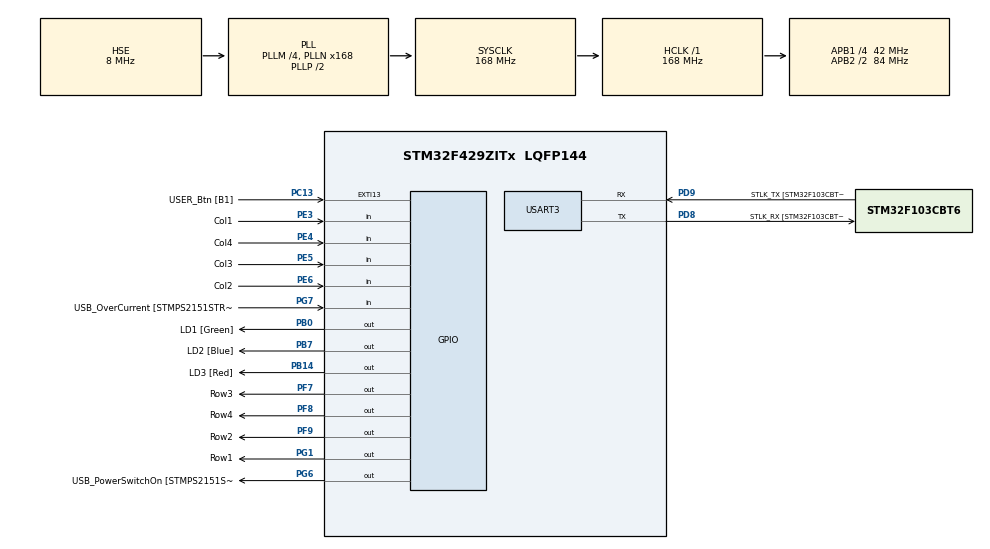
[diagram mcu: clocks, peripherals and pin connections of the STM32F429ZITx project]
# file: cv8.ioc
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Mcu.Family=STM32F4
Mcu.Name=STM32F429ZITx
Mcu.Package=LQFP144
NVIC.PriorityGroup=NVIC_PRIORITYGROUP_4
NVIC.TIM3_IRQn=true\:0\:0\:false\:false\:true\:true\:true
PA1.GPIO_Label=RMII_REF_CLK [LAN8742A-CZ-TR_REFCLK0]
PA1.Signal=ETH_REF_CLK
PA10.GPIO_Label=USB_ID
PA10.Signal=USB_OTG_FS_ID
PA11.GPIO_Label=USB_DM
PA11.Signal=USB_OTG_FS_DM
PA12.GPIO_Label=USB_DP
PA12.Signal=USB_OTG_FS_DP
PA13.GPIO_Label=TMS
PA13.Mode=Serial_Wire
PA13.Signal=SYS_JTMS-SWDIO
PA14.GPIO_Label=TCK
PA14.Mode=Serial_Wire
PA14.Signal=SYS_JTCK-SWCLK
PA2.GPIO_Label=RMII_MDIO [LAN8742A-CZ-TR_MDIO]
PA2.Signal=ETH_MDIO
PA7.GPIO_Label=RMII_CRS_DV [LAN8742A-CZ-TR_CRS_DV]
PA7.Signal=ETH_CRS_DV
PA8.GPIO_Label=USB_SOF [TP1]
PA8.Signal=USB_OTG_FS_SOF
PA9.GPIO_Label=USB_VBUS
PA9.Signal=USB_OTG_FS_VBUS
PB0.GPIO_Label=LD1 [Green]
PB0.Signal=GPIO_Output
PB13.GPIO_Label=RMII_TXD1 [LAN8742A-CZ-TR_TXD1]
PB13.Signal=ETH_TXD1
PB14.GPIO_Label=LD3 [Red]
PB14.Signal=GPIO_Output
PB7.GPIO_Label=LD2 [Blue]
PB7.Signal=GPIO_Output
PC1.GPIO_Label=RMII_MDC [LAN8742A-CZ-TR_MDC]
PC1.Signal=ETH_MDC
PC13.GPIO_Label=USER_Btn [B1]
PC13.Signal=GPXTI13
PC14/OSC32_IN.Mode=LSE-External-Oscillator
PC14/OSC32_IN.Signal=RCC_OSC32_IN
PC15/OSC32_OUT.Mode=LSE-External-Oscillator
PC15/OSC32_OUT.Signal=RCC_OSC32_OUT
PC4.GPIO_Label=RMII_RXD0 [LAN8742A-CZ-TR_RXD0]
PC4.Signal=ETH_RXD0
PC5.GPIO_Label=RMII_RXD1 [LAN8742A-CZ-TR_RXD1]
PC5.Signal=ETH_RXD1
PD8.GPIO_Label=STLK_RX [STM32F103CBT6_PA3]
PD8.Mode=Asynchronous
PD8.Signal=USART3_TX
PD9.GPIO_Label=STLK_TX [STM32F103CBT6_PA2]
PD9.Mode=Asynchronous
PD9.Signal=USART3_RX
PE3.GPIO_Label=Col1
PE3.GPIO_PuPd=GPIO_PULLUP
PE3.Signal=GPIO_Input
PE4.GPIO_Label=Col4
PE4.GPIO_PuPd=GPIO_PULLUP
PE4.Signal=GPIO_Input
PE5.GPIO_Label=Col3
PE5.GPIO_PuPd=GPIO_PULLUP
PE5.Signal=GPIO_Input
PE6.GPIO_Label=Col2
PE6.GPIO_PuPd=GPIO_PULLUP
PE6.Signal=GPIO_Input
PF7.GPIO_Label=Row3
PF7.GPIO_ModeDefaultOutputPP=GPIO_MODE_OUTPUT_OD
PF7.Signal=GPIO_Output
PF8.GPIO_Label=Row4
PF8.GPIO_ModeDefaultOutputPP=GPIO_MODE_OUTPUT_OD
PF8.Signal=GPIO_Output
PF9.GPIO_Label=Row2
PF9.GPIO_ModeDefaultOutputPP=GPIO_MODE_OUTPUT_OD
PF9.Signal=GPIO_Output
PG1.GPIO_Label=Row1
PG1.GPIO_ModeDefaultOutputPP=GPIO_MODE_OUTPUT_OD
PG1.Signal=GPIO_Output
PG11.GPIO_Label=RMII_TX_EN [LAN8742A-CZ-TR_TXEN]
PG11.Signal=ETH_TX_EN
PG13.GPIO_Label=RMII_TXD0 [LAN8742A-CZ-TR_TXD0]
PG13.Signal=ETH_TXD0
PG6.GPIO_Label=USB_PowerSwitchOn [STMPS2151STR_EN]
PG6.Signal=GPIO_Output
PG7.GPIO_Label=USB_OverCurrent [STMPS2151STR_FAULT]
PG7.Signal=GPIO_Input
PH0/OSC_IN.GPIO_Label=MCO [STM32F103CBT6_PA8]
PH0/OSC_IN.Mode=HSE-External-Clock-Source
PH0/OSC_IN.Signal=RCC_OSC_IN
PH1/OSC_OUT.Mode=HSE-External-Clock-Source
PH1/OSC_OUT.Signal=RCC_OSC_OUT
ProjectManager.HeapSize=0x200
ProjectManager.StackSize=0x400
ProjectManager.TargetToolchain=STM32CubeIDE
RCC.48MHZClocksFreq_Value=48000000
RCC.AHBFreq_Value=168000000
RCC.APB1CLKDivider=RCC_HCLK_DIV4
RCC.APB1Freq_Value=42000000
RCC.APB1TimFreq_Value=84000000
RCC.APB2CLKDivider=RCC_HCLK_DIV2
RCC.APB2Freq_Value=84000000
RCC.APB2TimCLKDivider=2
RCC.APB2TimFreq_Value=168000000
RCC.CortexFreq_Value=168000000
RCC.HCLKFreq_Value=168000000
RCC.HSE_VALUE=8000000
RCC.HSI_VALUE=16000000
RCC.PLLM=4
RCC.PLLMUL=RCC_PLL_MUL9
RCC.PLLN=168
RCC.PLLQ=7
RCC.PLLSourceVirtual=RCC_PLLSOURCE_HSE
RCC.PRESCALERUSB=RCC_USBCLKSOURCE_PLL_DIV1_5
RCC.SYSCLKFreq_VALUE=168000000
RCC.SYSCLKSource=RCC_SYSCLKSOURCE_PLLCLK
RCC.SYSCLKSourceVirtual=RCC_SYSCLKSOURCE_PLLCLK
RCC.USBFreq_Value=48000000
RCC.VCOOutputFreq_Value=336000000
TIM3.AutoReloadPreload=TIM_AUTORELOAD_PRELOAD_ENABLE
TIM3.Period=99
TIM3.Prescaler=8399
USART3.VirtualMode=VM_ASYNC
VP_TIM3_VS_ClockSourceINT.Mode=Internal
board=NUCLEO-F429ZI

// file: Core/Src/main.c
/* USER CODE BEGIN Header */
/**
  ******************************************************************************
  * @file           : main.c
  * @brief          : Main program body
  ******************************************************************************
  * @attention
  *
  * <h2><center>&copy; Copyright (c) 2021 STMicroelectronics.
  * All rights reserved.</center></h2>
  *
  * This software component is licensed by ST under BSD 3-Clause license,
  * the "License"; You may not use this file except in compliance with the
  * License. You may obtain a copy of the License at:
  *                        opensource.org/licenses/BSD-3-Clause
  *
  ******************************************************************************
  */
/* USER CODE END Header */
#include "main.h"

/* USER CODE BEGIN Includes */
#include <stdio.h>

/* USER CODE END Includes */

/* USER CODE BEGIN PD */

int __io_putchar(int ch)
{
 ITM_SendChar(ch);
return 0;
}

/* USER CODE END PD */

TIM_HandleTypeDef htim3;

UART_HandleTypeDef huart3;

/* USER CODE BEGIN PV */
volatile int8_t key;
/* USER CODE END PV */

void SystemClock_Config(void);
static void MX_GPIO_Init(void);
static void MX_USART3_UART_Init(void);
static void MX_TIM3_Init(void);

int main(void)
{

  /* MCU Configuration--------------------------------------------------------*/

  /* Reset of all peripherals, Initializes the Flash interface and the Systick. */
  HAL_Init();

  /* Configure the system clock */
  SystemClock_Config();

  /* Initialize all configured peripherals */
  MX_GPIO_Init();
  MX_USART3_UART_Init();
  MX_TIM3_Init();
  /* USER CODE BEGIN 2 */

  // povoleni preruseni casove zakladny

  HAL_TIM_Base_Start_IT(&htim3);

  /* USER CODE END 2 */

  /* Infinite loop */
  /* USER CODE BEGIN WHILE */

  static const int zamek[5] = {7,9,3,2,12};
  uint8_t index_zamek = 0; //umisteno zde aby nemusela byt static
  uint32_t last; // umisteno zde aby nemusela byt static
  while (1)
  {

	  if(key != -1)
	  {
		  if(HAL_GetTick()-last > 5000)
		  {
			  index_zamek = 0;
			  printf("cas vyprsel \n");
		  }

		  last=HAL_GetTick();
		  printf("stisknuto: %d \n", key);
		  HAL_Delay(500);

		  // porovnavani klavesy a zamku
		  if(key == zamek[index_zamek])
		  {
			  index_zamek++;

		  }
		  else
		  {
			  index_zamek = 0;
		  }

		  // pokud je index zakmu 5 (shodny s rozsahem pole zamek)
		  if(index_zamek == (sizeof(zamek)/sizeof(zamek[0])))
		  {
			  printf("odemceno!! \n");
			  HAL_GPIO_WritePin (LD1_GPIO_Port, LD1_Pin,GPIO_PIN_SET);
			  HAL_Delay(1000);
			  HAL_GPIO_WritePin (LD1_GPIO_Port, LD1_Pin,GPIO_PIN_RESET);
		  }

		  key= -1;
	  }

	 // testovani kominikace s deskou
	 /*
	 HAL_GPIO_TogglePin(LD1_GPIO_Port, LD1_Pin);
	 HAL_Delay(250);
	 printf("sviti \n");
	 */

    /* USER CODE END WHILE */

  }
}

void SystemClock_Config(void)
{
  RCC_OscInitTypeDef RCC_OscInitStruct = {0};
  RCC_ClkInitTypeDef RCC_ClkInitStruct = {0};

  /** Configure the main internal regulator output voltage
  */
  __HAL_RCC_PWR_CLK_ENABLE();
  __HAL_PWR_VOLTAGESCALING_CONFIG(PWR_REGULATOR_VOLTAGE_SCALE1);
  /** Initializes the RCC Oscillators according to the specified parameters
  * in the RCC_OscInitTypeDef structure.
  */
  RCC_OscInitStruct.OscillatorType = RCC_OSCILLATORTYPE_HSE;
  RCC_OscInitStruct.HSEState = RCC_HSE_BYPASS;
  RCC_OscInitStruct.PLL.PLLState = RCC_PLL_ON;
  RCC_OscInitStruct.PLL.PLLSource = RCC_PLLSOURCE_HSE;
  RCC_OscInitStruct.PLL.PLLM = 4;
  RCC_OscInitStruct.PLL.PLLN = 168;
  RCC_OscInitStruct.PLL.PLLP = RCC_PLLP_DIV2;
  RCC_OscInitStruct.PLL.PLLQ = 7;
  if (HAL_RCC_OscConfig(&RCC_OscInitStruct) != HAL_OK)
  {
    Error_Handler();
  }
  /** Initializes the CPU, AHB and APB buses clocks
  */
  RCC_ClkInitStruct.ClockType = RCC_CLOCKTYPE_HCLK|RCC_CLOCKTYPE_SYSCLK
                              |RCC_CLOCKTYPE_PCLK1|RCC_CLOCKTYPE_PCLK2;
  RCC_ClkInitStruct.SYSCLKSource = RCC_SYSCLKSOURCE_PLLCLK;
  RCC_ClkInitStruct.AHBCLKDivider = RCC_SYSCLK_DIV1;
  RCC_ClkInitStruct.APB1CLKDivider = RCC_HCLK_DIV4;
  RCC_ClkInitStruct.APB2CLKDivider = RCC_HCLK_DIV2;

  if (HAL_RCC_ClockConfig(&RCC_ClkInitStruct, FLASH_LATENCY_5) != HAL_OK)
  {
    Error_Handler();
  }
}

static void MX_TIM3_Init(void)
{

  TIM_ClockConfigTypeDef sClockSourceConfig = {0};
  TIM_MasterConfigTypeDef sMasterConfig = {0};

  htim3.Instance = TIM3;
  htim3.Init.Prescaler = 8399;
  htim3.Init.CounterMode = TIM_COUNTERMODE_UP;
  htim3.Init.Period = 99;
  htim3.Init.ClockDivision = TIM_CLOCKDIVISION_DIV1;
  htim3.Init.AutoReloadPreload = TIM_AUTORELOAD_PRELOAD_ENABLE;
  if (HAL_TIM_Base_Init(&htim3) != HAL_OK)
  {
    Error_Handler();
  }
  sClockSourceConfig.ClockSource = TIM_CLOCKSOURCE_INTERNAL;
  if (HAL_TIM_ConfigClockSource(&htim3, &sClockSourceConfig) != HAL_OK)
  {
    Error_Handler();
  }
  sMasterConfig.MasterOutputTrigger = TIM_TRGO_RESET;
  sMasterConfig.MasterSlaveMode = TIM_MASTERSLAVEMODE_DISABLE;
  if (HAL_TIMEx_MasterConfigSynchronization(&htim3, &sMasterConfig) != HAL_OK)
  {
    Error_Handler();
  }

}

static void MX_USART3_UART_Init(void)
{

  huart3.Instance = USART3;
  huart3.Init.BaudRate = 115200;
  huart3.Init.WordLength = UART_WORDLENGTH_8B;
  huart3.Init.StopBits = UART_STOPBITS_1;
  huart3.Init.Parity = UART_PARITY_NONE;
  huart3.Init.Mode = UART_MODE_TX_RX;
  huart3.Init.HwFlowCtl = UART_HWCONTROL_NONE;
  huart3.Init.OverSampling = UART_OVERSAMPLING_16;
  if (HAL_UART_Init(&huart3) != HAL_OK)
  {
    Error_Handler();
  }

}

static void MX_GPIO_Init(void)
{
  GPIO_InitTypeDef GPIO_InitStruct = {0};

  /* GPIO Ports Clock Enable */
  __HAL_RCC_GPIOE_CLK_ENABLE();
  __HAL_RCC_GPIOC_CLK_ENABLE();
  __HAL_RCC_GPIOF_CLK_ENABLE();
  __HAL_RCC_GPIOH_CLK_ENABLE();
  __HAL_RCC_GPIOA_CLK_ENABLE();
  __HAL_RCC_GPIOB_CLK_ENABLE();
  __HAL_RCC_GPIOG_CLK_ENABLE();
  __HAL_RCC_GPIOD_CLK_ENABLE();

  /*Configure GPIO pin Output Level */
  HAL_GPIO_WritePin(GPIOF, Row3_Pin|Row4_Pin|Row2_Pin, GPIO_PIN_RESET);

  /*Configure GPIO pin Output Level */
  HAL_GPIO_WritePin(GPIOB, LD1_Pin|LD3_Pin|LD2_Pin, GPIO_PIN_RESET);

  /*Configure GPIO pin Output Level */
  HAL_GPIO_WritePin(GPIOG, Row1_Pin|USB_PowerSwitchOn_Pin, GPIO_PIN_RESET);

  /*Configure GPIO pins : Col1_Pin Col4_Pin Col3_Pin Col2_Pin */
  GPIO_InitStruct.Pin = Col1_Pin|Col4_Pin|Col3_Pin|Col2_Pin;
  GPIO_InitStruct.Mode = GPIO_MODE_INPUT;
  GPIO_InitStruct.Pull = GPIO_PULLUP;
  HAL_GPIO_Init(GPIOE, &GPIO_InitStruct);

  /*Configure GPIO pin : USER_Btn_Pin */
  GPIO_InitStruct.Pin = USER_Btn_Pin;
  GPIO_InitStruct.Mode = GPIO_MODE_IT_RISING;
  GPIO_InitStruct.Pull = GPIO_NOPULL;
  HAL_GPIO_Init(USER_Btn_GPIO_Port, &GPIO_InitStruct);

  /*Configure GPIO pins : Row3_Pin Row4_Pin Row2_Pin */
  GPIO_InitStruct.Pin = Row3_Pin|Row4_Pin|Row2_Pin;
  GPIO_InitStruct.Mode = GPIO_MODE_OUTPUT_OD;
  GPIO_InitStruct.Pull = GPIO_NOPULL;
  GPIO_InitStruct.Speed = GPIO_SPEED_FREQ_LOW;
  HAL_GPIO_Init(GPIOF, &GPIO_InitStruct);

  /*Configure GPIO pins : RMII_MDC_Pin RMII_RXD0_Pin RMII_RXD1_Pin */
  GPIO_InitStruct.Pin = RMII_MDC_Pin|RMII_RXD0_Pin|RMII_RXD1_Pin;
  GPIO_InitStruct.Mode = GPIO_MODE_AF_PP;
  GPIO_InitStruct.Pull = GPIO_NOPULL;
  GPIO_InitStruct.Speed = GPIO_SPEED_FREQ_VERY_HIGH;
  GPIO_InitStruct.Alternate = GPIO_AF11_ETH;
  HAL_GPIO_Init(GPIOC, &GPIO_InitStruct);

  /*Configure GPIO pins : RMII_REF_CLK_Pin RMII_MDIO_Pin RMII_CRS_DV_Pin */
  GPIO_InitStruct.Pin = RMII_REF_CLK_Pin|RMII_MDIO_Pin|RMII_CRS_DV_Pin;
  GPIO_InitStruct.Mode = GPIO_MODE_AF_PP;
  GPIO_InitStruct.Pull = GPIO_NOPULL;
  GPIO_InitStruct.Speed = GPIO_SPEED_FREQ_VERY_HIGH;
  GPIO_InitStruct.Alternate = GPIO_AF11_ETH;
  HAL_GPIO_Init(GPIOA, &GPIO_InitStruct);

  /*Configure GPIO pins : LD1_Pin LD3_Pin LD2_Pin */
  GPIO_InitStruct.Pin = LD1_Pin|LD3_Pin|LD2_Pin;
  GPIO_InitStruct.Mode = GPIO_MODE_OUTPUT_PP;
  GPIO_InitStruct.Pull = GPIO_NOPULL;
  GPIO_InitStruct.Speed = GPIO_SPEED_FREQ_LOW;
  HAL_GPIO_Init(GPIOB, &GPIO_InitStruct);

  /*Configure GPIO pin : Row1_Pin */
  GPIO_InitStruct.Pin = Row1_Pin;
  GPIO_InitStruct.Mode = GPIO_MODE_OUTPUT_OD;
  GPIO_InitStruct.Pull = GPIO_NOPULL;
  GPIO_InitStruct.Speed = GPIO_SPEED_FREQ_LOW;
  HAL_GPIO_Init(Row1_GPIO_Port, &GPIO_InitStruct);

  /*Configure GPIO pin : RMII_TXD1_Pin */
  GPIO_InitStruct.Pin = RMII_TXD1_Pin;
  GPIO_InitStruct.Mode = GPIO_MODE_AF_PP;
  GPIO_InitStruct.Pull = GPIO_NOPULL;
  GPIO_InitStruct.Speed = GPIO_SPEED_FREQ_VERY_HIGH;
  GPIO_InitStruct.Alternate = GPIO_AF11_ETH;
  HAL_GPIO_Init(RMII_TXD1_GPIO_Port, &GPIO_InitStruct);

  /*Configure GPIO pin : USB_PowerSwitchOn_Pin */
  GPIO_InitStruct.Pin = USB_PowerSwitchOn_Pin;
  GPIO_InitStruct.Mode = GPIO_MODE_OUTPUT_PP;
  GPIO_InitStruct.Pull = GPIO_NOPULL;
  GPIO_InitStruct.Speed = GPIO_SPEED_FREQ_LOW;
  HAL_GPIO_Init(USB_PowerSwitchOn_GPIO_Port, &GPIO_InitStruct);

  /*Configure GPIO pin : USB_OverCurrent_Pin */
  GPIO_InitStruct.Pin = USB_OverCurrent_Pin;
  GPIO_InitStruct.Mode = GPIO_MODE_INPUT;
  GPIO_InitStruct.Pull = GPIO_NOPULL;
  HAL_GPIO_Init(USB_OverCurrent_GPIO_Port, &GPIO_InitStruct);

  /*Configure GPIO pins : USB_SOF_Pin USB_ID_Pin USB_DM_Pin USB_DP_Pin */
  GPIO_InitStruct.Pin = USB_SOF_Pin|USB_ID_Pin|USB_DM_Pin|USB_DP_Pin;
  GPIO_InitStruct.Mode = GPIO_MODE_AF_PP;
  GPIO_InitStruct.Pull = GPIO_NOPULL;
  GPIO_InitStruct.Speed = GPIO_SPEED_FREQ_VERY_HIGH;
  GPIO_InitStruct.Alternate = GPIO_AF10_OTG_FS;
  HAL_GPIO_Init(GPIOA, &GPIO_InitStruct);

  /*Configure GPIO pin : USB_VBUS_Pin */
  GPIO_InitStruct.Pin = USB_VBUS_Pin;
  GPIO_InitStruct.Mode = GPIO_MODE_INPUT;
  GPIO_InitStruct.Pull = GPIO_NOPULL;
  HAL_GPIO_Init(USB_VBUS_GPIO_Port, &GPIO_InitStruct);

  /*Configure GPIO pins : RMII_TX_EN_Pin RMII_TXD0_Pin */
  GPIO_InitStruct.Pin = RMII_TX_EN_Pin|RMII_TXD0_Pin;
  GPIO_InitStruct.Mode = GPIO_MODE_AF_PP;
  GPIO_InitStruct.Pull = GPIO_NOPULL;
  GPIO_InitStruct.Speed = GPIO_SPEED_FREQ_VERY_HIGH;
  GPIO_InitStruct.Alternate = GPIO_AF11_ETH;
  HAL_GPIO_Init(GPIOG, &GPIO_InitStruct);

}

/* USER CODE BEGIN 4 */
void HAL_TIM_PeriodElapsedCallback(TIM_HandleTypeDef *htim)
{
 static int row = 0;
 static const int keyboard[4][4] = {
 { 1, 2, 3, 21 },
 { 4, 5, 6, 22 },
 { 7, 8, 9, 23 },
 { 11, 0, 12, 24 },
 };

 if (key == -1) {
 if (HAL_GPIO_ReadPin(Col1_GPIO_Port, Col1_Pin) == GPIO_PIN_RESET) key = keyboard[row][0];
 if (HAL_GPIO_ReadPin(Col2_GPIO_Port, Col2_Pin) == GPIO_PIN_RESET) key = keyboard[row][1];
 if (HAL_GPIO_ReadPin(Col3_GPIO_Port, Col3_Pin) == GPIO_PIN_RESET) key = keyboard[row][2];
 if (HAL_GPIO_ReadPin(Col4_GPIO_Port, Col4_Pin) == GPIO_PIN_RESET) key = keyboard[row][3];
 // ... atd ...
 }
 HAL_GPIO_WritePin(Row1_GPIO_Port, Row1_Pin, GPIO_PIN_SET);
 HAL_GPIO_WritePin(Row2_GPIO_Port, Row2_Pin, GPIO_PIN_SET);
 HAL_GPIO_WritePin(Row3_GPIO_Port, Row3_Pin, GPIO_PIN_SET);
 HAL_GPIO_WritePin(Row4_GPIO_Port, Row4_Pin, GPIO_PIN_SET);
 switch (row) {
 case 0: row = 1; HAL_GPIO_WritePin(Row2_GPIO_Port, Row2_Pin, GPIO_PIN_RESET); break;
 case 1: row = 2; HAL_GPIO_WritePin(Row3_GPIO_Port, Row3_Pin, GPIO_PIN_RESET); break;
 case 2: row = 3; HAL_GPIO_WritePin(Row4_GPIO_Port, Row4_Pin, GPIO_PIN_RESET); break;
 case 3: row = 0; HAL_GPIO_WritePin(Row1_GPIO_Port, Row1_Pin, GPIO_PIN_RESET); break;
 // ... atd ...
 }
}
/* USER CODE END 4 */

void Error_Handler(void)
{
  __disable_irq();
  while (1)
  {
  }
}

/************************ (C) COPYRIGHT STMicroelectronics *****END OF FILE****/
